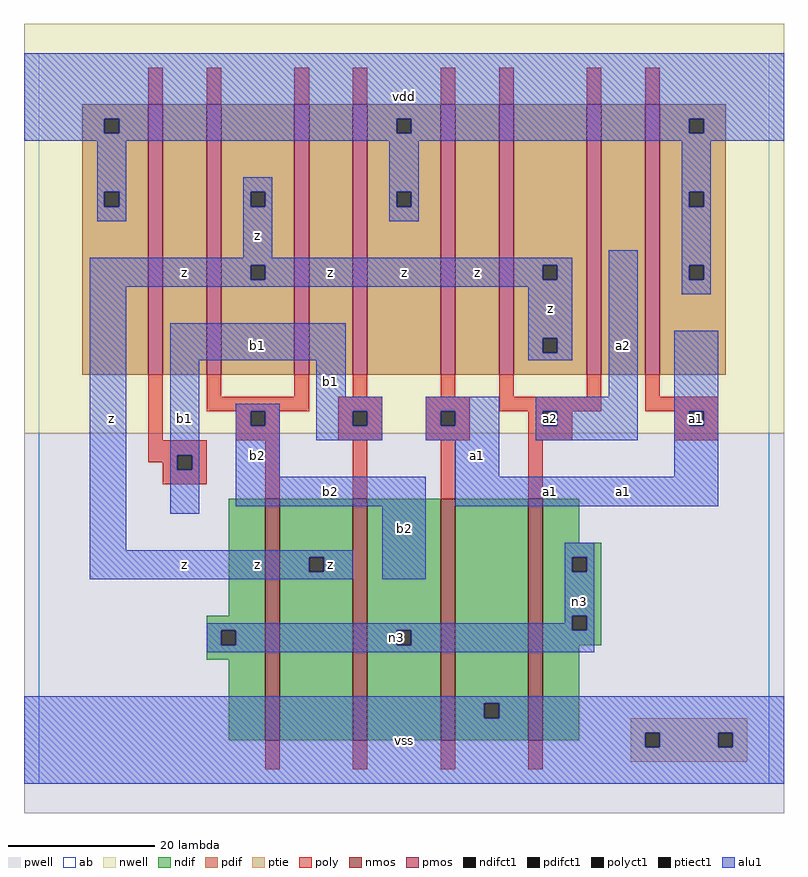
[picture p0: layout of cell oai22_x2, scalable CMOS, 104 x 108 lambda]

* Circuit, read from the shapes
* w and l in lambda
.subckt oai22_x2 a1 a2 b1 b2 n3 vdd vss z
M1 z b2 n3 vss nfet w=33 l=2
M2 n3 b1 z vss nfet w=33 l=2
M3 vss a1 n3 vss nfet w=33 l=2
M4 n3 a2 vss vss nfet w=33 l=2
M5 n1 b1 vdd n2 pfet w=37 l=2
M6 z b2 n1 n2 pfet w=37 l=2
M7 n4 b2 z n2 pfet w=37 l=2
M8 vdd b1 n4 n2 pfet w=37 l=2
M9 n5 a1 vdd n2 pfet w=37 l=2
M10 z a2 n5 n2 pfet w=37 l=2
M11 n6 a2 z n2 pfet w=37 l=2
M12 vdd a1 n6 n2 pfet w=37 l=2
.ends

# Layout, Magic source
magic
tech scmos
<< ab >>
rect 0 0 100 100
<< nwell >>
rect -2 48 102 104
<< pwell >>
rect -2 -4 102 48
<< poly >>
rect 15 93 17 98
rect 23 93 25 98
rect 35 93 37 98
rect 43 93 45 98
rect 55 93 57 98
rect 63 93 65 98
rect 75 93 77 98
rect 83 93 85 98
rect 15 47 17 56
rect 23 53 25 56
rect 35 53 37 56
rect 43 53 45 56
rect 55 53 57 56
rect 63 53 65 56
rect 75 53 77 56
rect 23 51 37 53
rect 41 51 47 53
rect 27 49 29 51
rect 31 49 33 51
rect 27 47 33 49
rect 41 49 43 51
rect 45 49 47 51
rect 41 47 47 49
rect 53 51 59 53
rect 63 51 77 53
rect 83 53 85 56
rect 83 51 93 53
rect 53 49 55 51
rect 57 49 59 51
rect 53 47 59 49
rect 67 49 69 51
rect 71 49 73 51
rect 67 47 73 49
rect 87 49 89 51
rect 91 49 93 51
rect 87 47 93 49
rect 15 45 23 47
rect 15 44 19 45
rect 17 43 19 44
rect 21 43 23 45
rect 17 41 23 43
rect 31 39 33 47
rect 43 39 45 47
rect 55 39 57 47
rect 67 39 69 47
rect 31 2 33 6
rect 43 2 45 6
rect 55 2 57 6
rect 67 2 69 6
<< ndif >>
rect 26 23 31 39
rect 23 21 31 23
rect 23 19 25 21
rect 27 19 31 21
rect 23 17 31 19
rect 26 6 31 17
rect 33 31 43 39
rect 33 29 37 31
rect 39 29 43 31
rect 33 6 43 29
rect 45 21 55 39
rect 45 19 49 21
rect 51 19 55 21
rect 45 6 55 19
rect 57 11 67 39
rect 57 9 61 11
rect 63 9 67 11
rect 57 6 67 9
rect 69 33 74 39
rect 69 31 77 33
rect 69 29 73 31
rect 75 29 77 31
rect 69 23 77 29
rect 69 21 73 23
rect 75 21 77 23
rect 69 19 77 21
rect 69 6 74 19
<< pdif >>
rect 6 91 15 93
rect 6 89 9 91
rect 11 89 15 91
rect 6 81 15 89
rect 6 79 9 81
rect 11 79 15 81
rect 6 56 15 79
rect 17 56 23 93
rect 25 81 35 93
rect 25 79 29 81
rect 31 79 35 81
rect 25 71 35 79
rect 25 69 29 71
rect 31 69 35 71
rect 25 56 35 69
rect 37 56 43 93
rect 45 91 55 93
rect 45 89 49 91
rect 51 89 55 91
rect 45 81 55 89
rect 45 79 49 81
rect 51 79 55 81
rect 45 56 55 79
rect 57 56 63 93
rect 65 71 75 93
rect 65 69 69 71
rect 71 69 75 71
rect 65 61 75 69
rect 65 59 69 61
rect 71 59 75 61
rect 65 56 75 59
rect 77 56 83 93
rect 85 91 94 93
rect 85 89 89 91
rect 91 89 94 91
rect 85 81 94 89
rect 85 79 89 81
rect 91 79 94 81
rect 85 71 94 79
rect 85 69 89 71
rect 91 69 94 71
rect 85 56 94 69
<< alu1 >>
rect -2 91 102 100
rect -2 89 9 91
rect 11 89 49 91
rect 51 89 89 91
rect 91 89 102 91
rect -2 88 102 89
rect 8 81 12 88
rect 8 79 9 81
rect 11 79 12 81
rect 8 77 12 79
rect 28 81 32 83
rect 28 79 29 81
rect 31 79 32 81
rect 28 72 32 79
rect 48 81 52 88
rect 48 79 49 81
rect 51 79 52 81
rect 48 77 52 79
rect 88 81 92 88
rect 88 79 89 81
rect 91 79 92 81
rect 7 71 73 72
rect 7 69 29 71
rect 31 69 69 71
rect 71 69 73 71
rect 7 68 73 69
rect 7 32 12 68
rect 18 58 42 63
rect 67 61 73 68
rect 67 59 69 61
rect 71 59 73 61
rect 67 58 73 59
rect 18 45 22 58
rect 38 53 42 58
rect 78 53 82 73
rect 88 71 92 79
rect 88 69 89 71
rect 91 69 92 71
rect 88 67 92 69
rect 18 43 19 45
rect 21 43 22 45
rect 18 37 22 43
rect 27 51 33 52
rect 27 49 29 51
rect 31 49 33 51
rect 27 42 33 49
rect 38 51 47 53
rect 38 49 43 51
rect 45 49 47 51
rect 38 47 47 49
rect 53 51 63 53
rect 53 49 55 51
rect 57 49 63 51
rect 53 47 63 49
rect 68 51 82 53
rect 68 49 69 51
rect 71 49 82 51
rect 68 47 82 49
rect 87 51 93 62
rect 87 49 89 51
rect 91 49 93 51
rect 57 42 63 47
rect 87 42 93 49
rect 27 38 53 42
rect 57 38 93 42
rect 7 31 43 32
rect 7 29 37 31
rect 39 29 43 31
rect 7 28 43 29
rect 47 28 53 38
rect 72 31 76 33
rect 72 29 73 31
rect 75 29 76 31
rect 72 23 76 29
rect 72 22 73 23
rect 23 21 73 22
rect 75 21 76 23
rect 23 19 25 21
rect 27 19 49 21
rect 51 19 76 21
rect 23 18 76 19
rect -2 11 102 12
rect -2 9 61 11
rect 63 9 102 11
rect -2 7 102 9
rect -2 5 83 7
rect 85 5 93 7
rect 95 5 102 7
rect -2 0 102 5
<< ptie >>
rect 81 7 97 9
rect 81 5 83 7
rect 85 5 93 7
rect 95 5 97 7
rect 81 3 97 5
<< nmos >>
rect 31 6 33 39
rect 43 6 45 39
rect 55 6 57 39
rect 67 6 69 39
<< pmos >>
rect 15 56 17 93
rect 23 56 25 93
rect 35 56 37 93
rect 43 56 45 93
rect 55 56 57 93
rect 63 56 65 93
rect 75 56 77 93
rect 83 56 85 93
<< polyct1 >>
rect 29 49 31 51
rect 43 49 45 51
rect 55 49 57 51
rect 69 49 71 51
rect 89 49 91 51
rect 19 43 21 45
<< ndifct1 >>
rect 25 19 27 21
rect 37 29 39 31
rect 49 19 51 21
rect 61 9 63 11
rect 73 29 75 31
rect 73 21 75 23
<< ptiect1 >>
rect 83 5 85 7
rect 93 5 95 7
<< pdifct1 >>
rect 9 89 11 91
rect 9 79 11 81
rect 29 79 31 81
rect 29 69 31 71
rect 49 89 51 91
rect 49 79 51 81
rect 69 69 71 71
rect 69 59 71 61
rect 89 89 91 91
rect 89 79 91 81
rect 89 69 91 71
<< labels >>
rlabel alu1 10 50 10 50 6 z
rlabel alu1 20 30 20 30 6 z
rlabel alu1 30 30 30 30 6 z
rlabel alu1 20 50 20 50 6 b1
rlabel alu1 30 45 30 45 6 b2
rlabel alu1 30 60 30 60 6 b1
rlabel alu1 20 70 20 70 6 z
rlabel alu1 30 75 30 75 6 z
rlabel alu1 50 6 50 6 6 vss
rlabel alu1 40 30 40 30 6 z
rlabel alu1 50 35 50 35 6 b2
rlabel alu1 40 40 40 40 6 b2
rlabel alu1 40 55 40 55 6 b1
rlabel alu1 40 70 40 70 6 z
rlabel alu1 50 70 50 70 6 z
rlabel alu1 50 94 50 94 6 vdd
rlabel alu1 74 25 74 25 6 n3
rlabel alu1 49 20 49 20 6 n3
rlabel alu1 70 40 70 40 6 a1
rlabel alu1 60 45 60 45 6 a1
rlabel polyct1 70 50 70 50 6 a2
rlabel alu1 60 70 60 70 6 z
rlabel alu1 70 65 70 65 6 z
rlabel alu1 80 40 80 40 6 a1
rlabel polyct1 90 50 90 50 6 a1
rlabel alu1 80 60 80 60 6 a2
<< end >>
